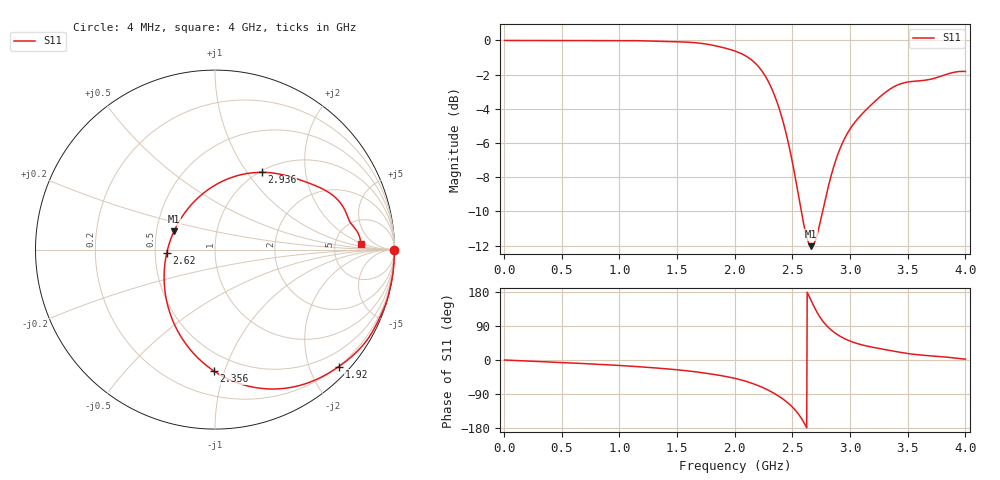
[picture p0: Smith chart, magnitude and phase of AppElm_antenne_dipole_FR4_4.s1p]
! TOUCHSTONE file generated by CST MICROWAVE STUDIO
! Date and time: Thu May 12 15:49:36 2022
! Project name: AppElm_antenne_dipole_FR4.cst
! Parameters = {L=34.92; e=0.035; f=2.45e+09; h=1.6; i=0.8; l1=4; lambda=122.449; ls=30; wl=1.7; ws=80}
! Header version: 2018
! Port assignment regex: !\s*Touchstone port\s*([0-9]+)\s*=\s*(CST MWS port|CST DS port)\s*([0-9]+|Zmin|Zmax)\s*\(\"(.*)\"\)(\s*mode\s*([0-9]+))?.*
! Touchstone port assignment:
! Touchstone port 1 = CST MWS port 1 ("")
# GHz S MA R 50
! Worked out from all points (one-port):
!   1000 points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, 4 MHz to 4 GHz, reference 50 ohm
!   lowest |S11| = -12.0 dB at 2.664 GHz (marker M1), VSWR 1.67, Z = 30.8 + j6.74 ohm
!   |S11| at or under -10 dB: 2.577 GHz to 2.762 GHz (184.5 MHz wide, 6.91 % of centre)
!   S11 on the Smith chart (normalised r, x): 4 MHz: open; 1.92 GHz: 0.19, -2.50; 2.356 GHz: 0.37, -0.92; 2.62 GHz: 0.58, -0.02; 2.936 GHz: 1.02, +1.18; 4 GHz: 9.31, +1.67
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0.004  1 -0.1
0.504  0.9999 -6.7
1.004  0.9988 -14.5
1.504  0.9908 -25.9
1.72  0.9797 -33.6
1.92  0.9491 -43.4
2.004  0.9304 -48.7
2.112  0.8939 -57.6
2.212  0.8336 -68.7
2.288  0.7616 -79.2
2.356  0.6753 -90.6
2.428  0.5636 -105.3
2.504  0.4328 -125.5
2.564  0.335 -147.7
2.62  0.2688 -176.5
2.664  0.2502 155.8
2.712  0.2687 126.8
2.796  0.3558 90.8
2.864  0.4337 72.5
2.936  0.5031 58.8
3.004  0.5537 49.5
3.108  0.6117 39.5
3.268  0.6882 29.4
3.396  0.7367 22.3
3.504  0.7562 17.0
3.616  0.7627 13.0
3.832  0.7952 7.7
4  0.8115 2.2
